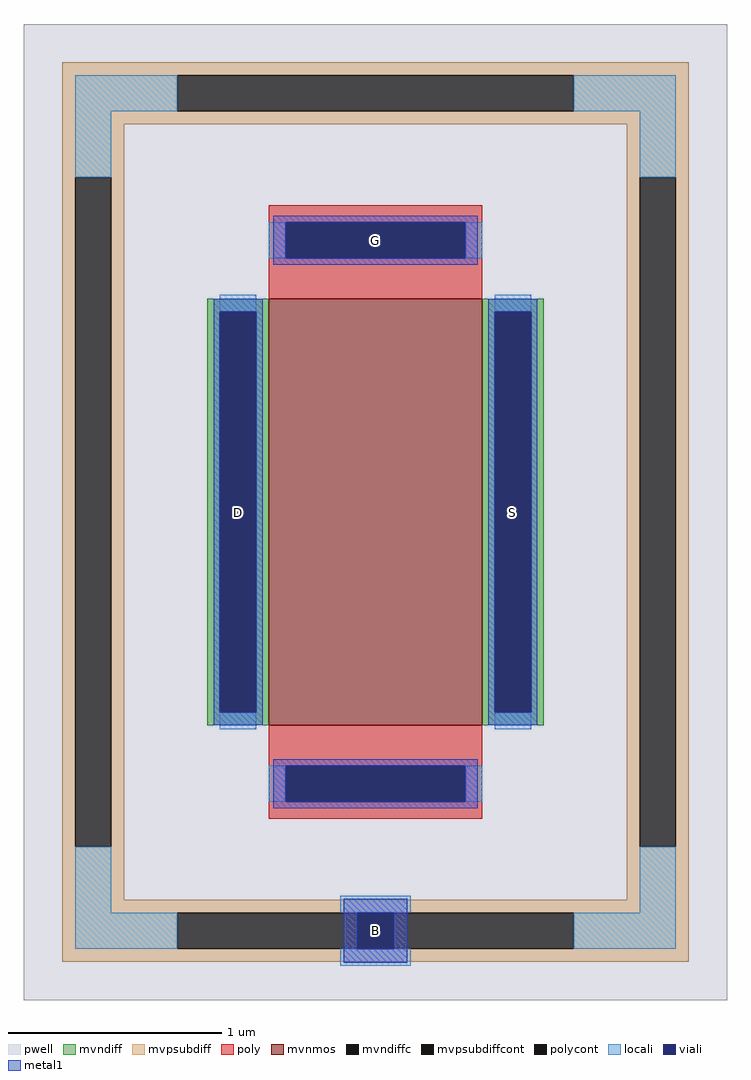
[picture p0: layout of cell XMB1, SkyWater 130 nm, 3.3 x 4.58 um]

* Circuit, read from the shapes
.subckt XMB1 B D S G
XM1 S G D B sky130_fd_pr__nfet_g5v0d10v5 w=2 l=1
.ends

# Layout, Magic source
magic
tech sky130A
magscale 1 2
<< pwell >>
rect -330 -458 330 458
<< mvnmos >>
rect -100 -200 100 200
<< mvndiff >>
rect -158 188 -100 200
rect -158 -188 -146 188
rect -112 -188 -100 188
rect -158 -200 -100 -188
rect 100 188 158 200
rect 100 -188 112 188
rect 146 -188 158 188
rect 100 -200 158 -188
<< mvndiffc >>
rect -146 -188 -112 188
rect 112 -188 146 188
<< mvpsubdiff >>
rect -294 410 294 422
rect -294 376 -186 410
rect 186 376 294 410
rect -294 364 294 376
rect -294 314 -236 364
rect -294 -314 -282 314
rect -248 -314 -236 314
rect 236 314 294 364
rect -294 -364 -236 -314
rect 236 -314 248 314
rect 282 -314 294 314
rect 236 -364 294 -314
rect -294 -376 294 -364
rect -294 -410 -186 -376
rect 186 -410 294 -376
rect -294 -422 294 -410
<< mvpsubdiffcont >>
rect -186 376 186 410
rect -282 -314 -248 314
rect 248 -314 282 314
rect -186 -410 186 -376
<< poly >>
rect -100 272 100 288
rect -100 238 -84 272
rect 84 238 100 272
rect -100 200 100 238
rect -100 -238 100 -200
rect -100 -272 -84 -238
rect 84 -272 100 -238
rect -100 -288 100 -272
<< polycont >>
rect -84 238 84 272
rect -84 -272 84 -238
<< locali >>
rect -282 376 -186 410
rect 186 376 282 410
rect -282 314 -248 376
rect 248 314 282 376
rect -100 238 -84 272
rect 84 238 100 272
rect -146 188 -112 204
rect -146 -204 -112 -188
rect 112 188 146 204
rect 112 -204 146 -188
rect -100 -272 -84 -238
rect 84 -272 100 -238
rect -282 -376 -248 -314
rect -33 -376 33 -360
rect 248 -376 282 -314
rect -282 -410 -186 -376
rect 186 -410 282 -376
rect -33 -426 33 -410
<< viali >>
rect -84 238 84 272
rect -146 -188 -112 188
rect 112 -188 146 188
rect -84 -272 84 -238
rect -17 -410 17 -376
<< metal1 >>
rect -96 272 96 278
rect -96 238 -84 272
rect 84 238 96 272
rect -96 232 96 238
rect -152 188 -106 200
rect -152 -188 -146 188
rect -112 -188 -106 188
rect -152 -200 -106 -188
rect 106 188 152 200
rect 106 -188 112 188
rect 146 -188 152 188
rect 106 -200 152 -188
rect -96 -238 96 -232
rect -96 -272 -84 -238
rect 84 -272 96 -238
rect -96 -278 96 -272
rect -30 -376 30 -363
rect -30 -410 -17 -376
rect 17 -410 30 -376
rect -30 -423 30 -410
<< labels >>
rlabel mvpsubdiffcont 0 -393 0 -393 0 B
port 4 nsew
rlabel mvndiffc -129 0 -129 0 0 D
port 5 nsew
rlabel mvndiffc 129 0 129 0 0 S
port 6 nsew
rlabel polycont 0 255 0 255 0 G
port 7 nsew
<< properties >>
string FIXED_BBOX -265 -393 265 393
<< end >>
